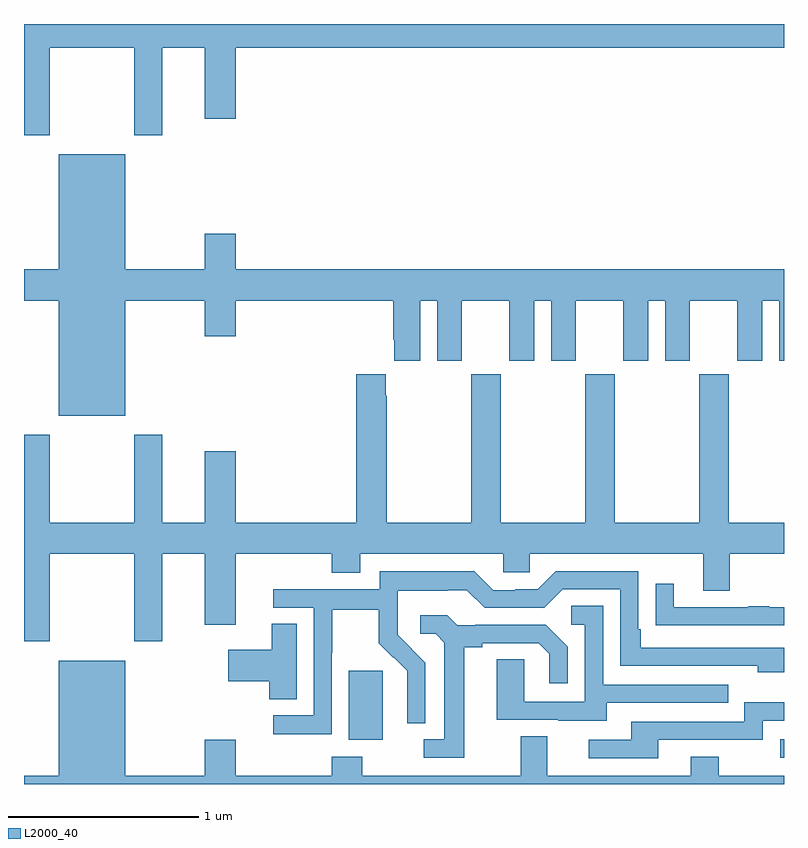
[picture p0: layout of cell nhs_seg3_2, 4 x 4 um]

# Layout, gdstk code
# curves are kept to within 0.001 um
import gdstk
lib = gdstk.Library(unit=1e-6, precision=1e-09)
def R(c, l, rs):  # rectangles x0, y0, x1, y1
    for r in rs: c.add(gdstk.rectangle(r[:2], r[2:], *l))
def P(c, l, *ps):  # polygons
    for p in ps: c.add(gdstk.Polygon(p, *l))
L2000_40 = (2000, 40)

nhs_seg3_2 = lib.new_cell('nhs_seg3_2')
R(nhs_seg3_2, L2000_40, [(114.981,670.539,115,670.635), (112.709,670.634,112.888,670.995)])
P(nhs_seg3_2, L2000_40, [(111.135,674.276),(111.58,674.276),(111.58,673.815),(111.727,673.815),(111.727,674.276),(111.95,674.276),(111.95,673.902),(112.114,673.902),(112.114,674.276),(115,674.276),(115,674.4),(111,674.4),(111,673.815),(111.135,673.815)],
  [(111.532,672.944),(111.95,672.944),(111.95,672.756),(112.114,672.756),(112.114,672.944),(112.943,672.944),(112.943,672.739),(112.949,672.739),(112.949,672.627),(113.086,672.627),(113.086,672.944),(113.174,672.944),(113.174,672.627),(113.305,672.627),(113.305,672.944),(113.555,672.944),(113.555,672.627),(113.686,672.627),(113.686,672.944),(113.774,672.944),(113.774,672.627),(113.905,672.627),(113.905,672.944),(114.155,672.944),(114.155,672.627),(114.286,672.627),(114.286,672.944),(114.374,672.944),(114.374,672.627),(114.505,672.627),(114.505,672.944),(114.755,672.944),(114.755,672.627),(114.886,672.627),(114.886,672.944),(114.974,672.944),(114.974,672.627),(115,672.627),(115,673.108),(112.114,673.108),(112.114,673.297),(111.95,673.297),(111.95,673.108),(111.532,673.108),(111.532,673.714),(111.182,673.714),(111.182,673.108),(111,673.108),(111,672.944),(111.182,672.944),(111.182,672.338),(111.532,672.338)],
  [(111.135,671.612),(111.58,671.612),(111.58,671.151),(111.727,671.151),(111.727,671.612),(111.95,671.612),(111.95,671.238),(112.114,671.238),(112.114,671.612),(112.619,671.612),(112.619,671.513),(112.771,671.513),(112.771,671.612),(113.523,671.612),(113.523,671.514),(113.661,671.514),(113.661,671.612),(114.575,671.612),(114.575,671.418),(114.715,671.418),(114.715,671.612),(115,671.612),(115,671.776),(114.708,671.776),(114.708,672.556),(114.553,672.556),(114.553,671.776),(114.108,671.776),(114.108,672.556),(113.953,672.556),(113.953,671.776),(113.508,671.776),(113.508,672.556),(113.353,672.556),(113.353,671.776),(112.908,671.776),(112.908,672.443),(112.903,672.443),(112.903,672.556),(112.748,672.556),(112.748,671.776),(112.114,671.776),(112.114,672.151),(111.95,672.151),(111.95,671.776),(111.727,671.776),(111.727,672.238),(111.58,672.238),(111.58,671.776),(111.135,671.776),(111.135,672.238),(111,672.238),(111,671.151),(111.135,671.151)],
  [(112.62,671.092),(112.623,671.092),(112.623,671.316),(112.867,671.316),(112.867,671.141),(112.944,671.064),(112.947,671.067),(113.018,670.997),(113.018,670.874),(113.016,670.874),(113.016,670.72),(113.112,670.72),(113.112,671.038),(112.966,671.186),(112.966,671.283),(112.968,671.283),(112.968,671.417),(113.231,671.417),(113.231,671.421),(113.331,671.421),(113.424,671.328),(113.739,671.328),(113.835,671.424),(114.138,671.424),(114.138,671.022),(114.863,671.022),(114.863,670.988),(115,670.988),(115,671.118),(114.247,671.118),(114.247,671.215),(114.234,671.215),(114.234,671.52),(113.799,671.52),(113.703,671.424),(113.585,671.424),(113.585,671.421),(113.469,671.421),(113.369,671.521),(112.872,671.521),(112.872,671.424),(112.311,671.424),(112.311,671.328),(112.524,671.328),(112.524,670.761),(112.311,670.761),(112.311,670.663),(112.62,670.663)],
  [(115,671.331),(114.923,671.331),(114.923,671.336),(114.811,671.336),(114.811,671.331),(114.421,671.331),(114.421,671.455),(114.325,671.455),(114.325,671.236),(114.427,671.236),(114.427,671.235),(115,671.235)],
  [(114.067,670.827),(114.707,670.827),(114.707,670.923),(114.048,670.923),(114.048,671.339),(113.88,671.339),(113.88,671.238),(113.952,671.238),(113.952,670.833),(113.634,670.833),(113.634,671.057),(113.489,671.057),(113.489,670.737),(113.813,670.737),(113.813,670.733),(114.067,670.733)],
  [(113.317,671.12),(113.413,671.12),(113.413,671.142),(113.708,671.142),(113.765,671.085),(113.765,670.929),(113.862,670.929),(113.862,671.122),(113.746,671.238),(113.374,671.238),(113.374,671.235),(113.28,671.235),(113.228,671.287),(113.085,671.287),(113.085,671.19),(113.166,671.19),(113.213,671.143),(113.213,670.635),(113.103,670.635),(113.103,670.539),(113.317,670.539)],
  [(112.435,671.243),(112.304,671.243),(112.304,671.107),(112.074,671.107),(112.074,670.942),(112.292,670.942),(112.292,670.846),(112.435,670.846)],
  [(115,670.444),(114.657,670.444),(114.657,670.543),(114.509,670.543),(114.509,670.444),(113.755,670.444),(113.755,670.652),(113.615,670.652),(113.615,670.444),(112.779,670.444),(112.779,670.543),(112.619,670.543),(112.619,670.444),(112.114,670.444),(112.114,670.633),(111.95,670.633),(111.95,670.444),(111.532,670.444),(111.532,671.05),(111.182,671.05),(111.182,670.444),(111,670.444),(111,670.4),(115,670.4)],
  [(114.337,670.632),(114.888,670.632),(114.888,670.734),(115,670.734),(115,670.831),(114.792,670.831),(114.792,670.728),(114.197,670.728),(114.197,670.632),(113.973,670.632),(113.973,670.536),(114.337,670.536)])

lib.write_gds('nhs_seg3_2.gds')
